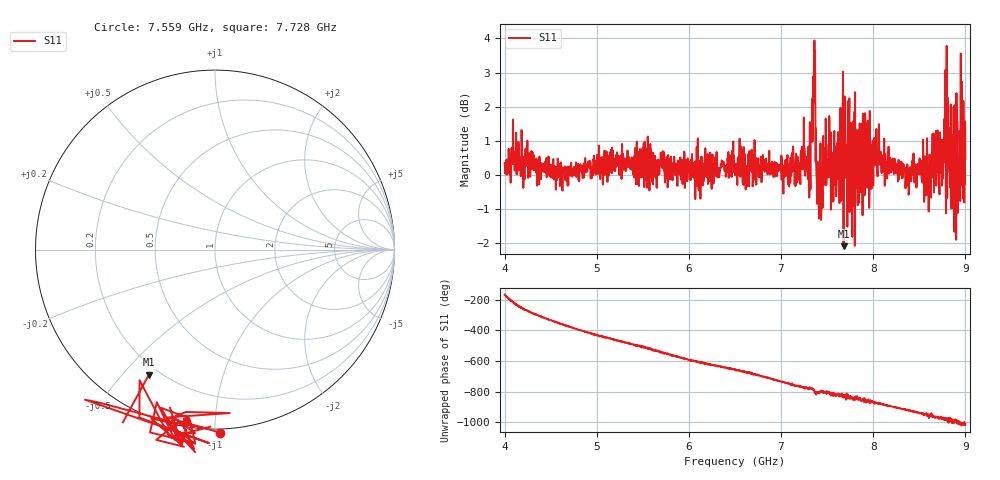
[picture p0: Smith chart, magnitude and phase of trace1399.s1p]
! Created with skrf 1.8.0 (http://scikit-rf.org).
# Hz S RI R 50.0
!freq ReS11 ImS11
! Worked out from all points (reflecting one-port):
!   1601 points, 4 GHz to 9 GHz, reference 50 ohm
!   lowest |S11| = -2.1 dB at 7.678 GHz (marker M1), VSWR 8.39, Z = 8.08 - j29.6 ohm
!   phase of S11 starts at -167 deg and turns -844 deg over the sweep
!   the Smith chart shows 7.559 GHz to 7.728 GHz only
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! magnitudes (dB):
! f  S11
! 4 GHz  0.3
! 4.1 GHz  0.5
! 4.625 GHz  -0.4
! 5.25 GHz  0.3
! 5.875 GHz  -0.3
! 6.5 GHz  0.1
! 7.125 GHz  0.7
! 7.294 GHz  0.2
! 7.316 GHz  0.0
! 7.347 GHz  2.9
! 7.369 GHz  3.6
! 7.397 GHz  -0.7
! 7.412 GHz  -1.3
! 7.506 GHz  0.0
! 7.566 GHz  -0.8
! 7.678 GHz  -2.1
! 7.75 GHz  0.1
! 7.769 GHz  -1.1
! 8.038 GHz  0.5
! 8.375 GHz  -0.1
! 8.612 GHz  0.6
! 8.656 GHz  1.2
! 8.734 GHz  0.4
! 8.788 GHz  -0.9
! 8.856 GHz  0.6
! 8.919 GHz  -0.8
! 8.959 GHz  2.7
! 9 GHz  0.5
